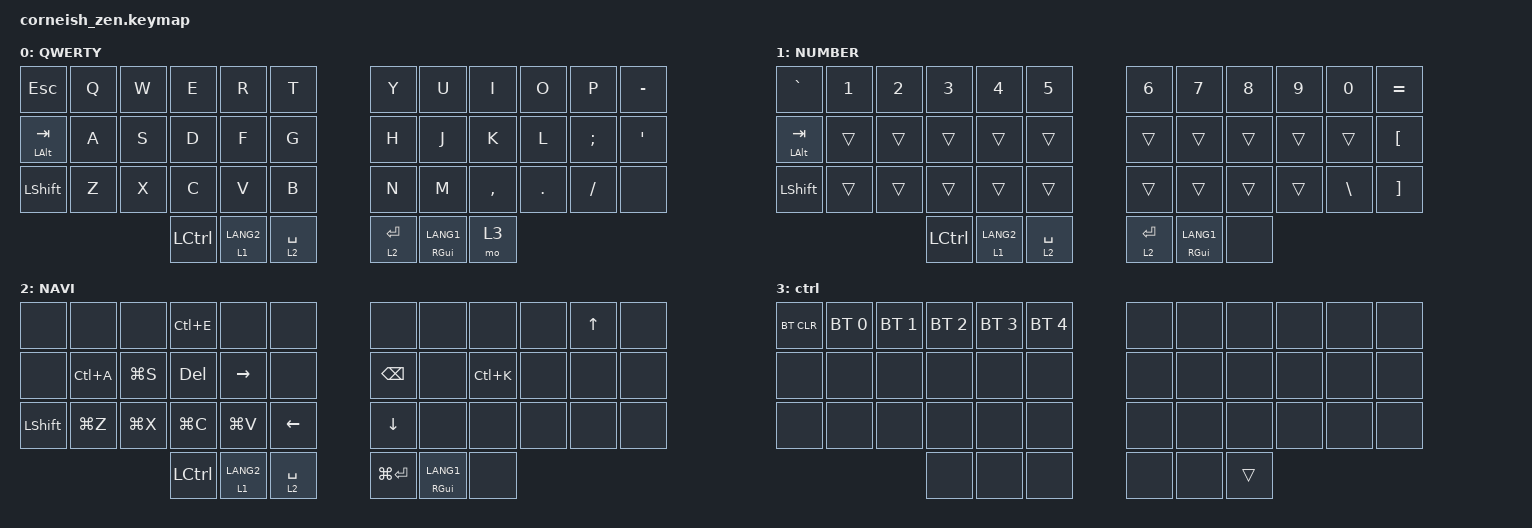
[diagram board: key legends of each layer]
/*
*
* Copyright (c) 2021 Darryl deHaan
* SPDX-License-Identifier: MIT
*
*/

#include <behaviors.dtsi>
#include <dt-bindings/zmk/keys.h>
#include <dt-bindings/zmk/bt.h>

#define M_JP LANG1
#define M_EN LANG2

/ {
    chosen {
        zmk,matrix-transform = &default_transform;
        // zmk,matrix-transform = &five_column_transform;
    };
};

/ {
        keymap {
                compatible = "zmk,keymap";

                default_layer {
                        label = "QWERTY";
// -----------------------------------------------------------------------------------------------
// | ESC     |  Q  |  W  |  E   |   R   |   T    |   |    Y   |    U   |  I  |  O  |  P  | MINUS |
// | OPT/TAB |  A  |  S  |  D   |   F   |   G    |   |    H   |    J   |  K  |  L  |  ;  |  '    |
// | SHFT    |  Z  |  X  |  C   |   V   |   B    |   |    N   |    M   |  ,  |  .  |  /  | ...   |
//                       | CTRL | L1/EN | L2/SPC |   | L2/ENT | CMD/JP | ... |
                        bindings = <
   &kp ESC      &kp Q &kp W &kp E &kp R &kp T   &kp Y &kp U  &kp I     &kp O   &kp P    &kp MINUS
   &mt LALT TAB &kp A &kp S &kp D &kp F &kp G   &kp H &kp J  &kp K     &kp L   &kp SEMI &kp SQT
   &kp LSHFT    &kp Z &kp X &kp C &kp V &kp B   &kp N &kp M  &kp COMMA &kp DOT &kp FSLH &none
             &kp LCTRL &lt 1 M_EN &lt 2 SPACE   &lt 2 RET &mt RGUI M_JP &mo 3
                        >;
                };

                number_layer {
                        label = "NUMBER";
// ----------------------------------------------------------------------------------------------------------
// | GRAVE   |   1   |   2   |   3   |   4   |    5   |   |   6    |   7    |   8   |   9   |   0   | EQUAL |
// | OPT/TAB | trans | trans | trans | trans |  trans |   | trans  | trans  | trans | trans | trans | LBKT  |
// | SHFT    | trans | trans | trans | trans |  trans |   | trans  | trans  | trans | trans | BSLH  | RBKT  |
//                           |  CTRL | L1/EN | L2/SPC |   | L2/ENT | CMD/JP | ...   |
                        bindings = <
   &kp GRAVE    &kp N1  &kp N2  &kp N3  &kp N4  &kp N5    &kp N6  &kp N7  &kp N8  &kp N9  &kp N0    &kp EQUAL
   &mt LALT TAB &trans  &trans  &trans  &trans  &trans    &trans  &trans  &trans  &trans  &trans    &kp LBKT
   &kp LSHFT    &trans  &trans  &trans  &trans  &trans    &trans  &trans  &trans  &trans  &kp BSLH  &kp RBKT
                      &kp LCTRL &lt 1 M_EN &lt 2 SPACE    &lt 2 RET &mt RGUI M_JP &none
                        >;
                };

                navigation_layer {
                        label = "NAVI";
// -----------------------------------------------------------------------------------------------------------
// | ...  | ...    | ...    | CTL(E) | ...    | ...    |   | ...      | ...    | ...    | ...  | UP   | ...  |
// | ...  | CTL(A) | CMD(S) | DEL    | RIGHT  | ...    |   | BSPC     | ...    | CTL(K) | ...  | ...  | ...  |
// | SHFT | CMD(Z) | CMD(X) | CMD(C) | CMD(V) | LEFT   |   | DOWN     | ...    | ...    | ...  | ...  | ...  |
//                          |   CTRL | L1/EN  | L2/SPC |   | CMD(ENT) | CMD/JP | ...    |
                        bindings = <
   &none      &none      &none      &kp LC(E)  &none      &none        &none     &none   &none      &none   &kp UP  &none
   &none      &kp LC(A)  &kp LG(S)  &kp DEL    &kp RIGHT  &none        &kp BSPC  &none   &kp LC(K)  &none   &none   &none
   &kp LSHFT  &kp LG(Z)  &kp LG(X)  &kp LG(C)  &kp LG(V)  &kp LEFT     &kp DOWN  &none   &none      &none   &none   &none
                                  &kp LCTRL &lt 1 M_EN &lt 2 SPACE     &kp LG(RET) &mt RGUI M_JP &none
                        >;
                };

                control_layer {
                        label = "ctrl";
// --------------------------------------------------------------------------------------------
// | BTCLR  | BT1  | BT2  | BT3  | BT4  | BT5  |   | ...  | ...  | ...   | ...  | ...  | ...  |
// | ...    | ...  | ...  | ...  | ...  | ...  |   | ...  | ...  | ...   | ...  | ...  | ...  |
// | ...    | ...  | ...  | ...  | ...  | ...  |   | ...  | ...  | ...   | ...  | ...  | ...  |
//                        | ...  | ...  | ...  |   | ...  | ...  | trans |
                        bindings = <
   &bt BT_CLR  &bt BT_SEL 0  &bt BT_SEL 1  &bt BT_SEL 2  &bt BT_SEL 3  &bt BT_SEL 4      &none  &none  &none  &none  &none  &none
   &none       &none         &none         &none         &none         &none             &none  &none  &none  &none  &none  &none
   &none       &none         &none         &none         &none         &none             &none  &none  &none  &none  &none  &none
                                           &none         &none         &none             &none  &none  &trans
                        >;
                };
        };
};
